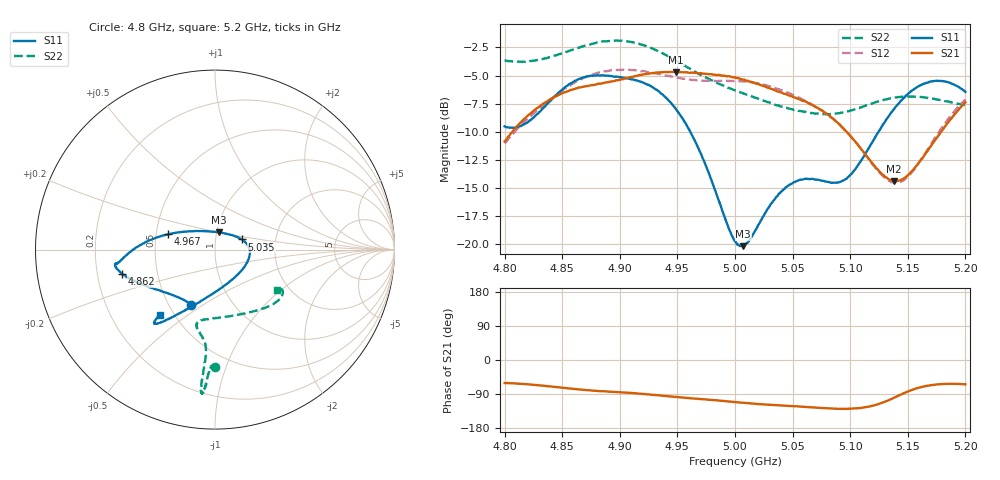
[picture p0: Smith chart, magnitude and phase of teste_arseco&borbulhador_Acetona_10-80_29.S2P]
! Network Analyzer HP8722D
! Hewlett-Packard
! Data name: Linha & Wilkinson
! Saver's name: Rodrigo Anjos
! Comments: Teste da utilização de aquisição
! continua pelo VNA HP8722D
! Time and date: 17/4/2025 14:36
!  Frequency  S11  S21  S12  S22
# HZ  S  MA R 50
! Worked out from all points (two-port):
!   401 points, 4.8 GHz to 5.2 GHz, reference 50 ohm
!   highest |S21| = -4.67 dB at 4.949 GHz (marker M1); lowest = -14.4 dB at 5.138 GHz (marker M2)
!   |S21| within 3 dB of the highest: 4.831 GHz to 5.068 GHz (236.5 MHz wide, 4.78 % of centre); 5.197242 GHz to end of sweep
!   lowest |S11| = -20.2 dB at 5.007 GHz (marker M3), VSWR 1.22, Z = 51 + j9.9 ohm
!   |S11| at or under -10 dB: 4.961 GHz to 5.125 GHz (163.3 MHz wide, 3.24 % of centre)
!   |S22| runs from -8.5 to -1.9 dB; largest |S21 - S12| = 0.87
!   S11 on the Smith chart (normalised r, x): 4.8 GHz: 0.65, -0.45; 4.862 GHz: 0.31, -0.12; 4.967 GHz: 0.58, +0.11; 5.035 GHz: 1.34, +0.16; 5.2 GHz: 0.42, -0.39
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4.8e9  0.3342 -113.1  0.2866 -60.8  0.2807 -175.0  0.6548 -89.9
4.819e9  0.3461 -133.0  0.3681 -63.8  0.3571 -173.4  0.6506 -91.5
4.862e9  0.5352 -165.4  0.4933 -77.0  0.5282 -176.7  0.7416 -93.8
4.867e9  0.5479 -167.5  0.4999 -78.6  0.5433 -177.6  0.7564 -93.9
4.9e9  0.5529 -172.0  0.5382 -85.2  0.5963 175.8  0.8034 -95.3
4.934e9  0.478 -178.0  0.5802 -93.4  0.5723 172.1  0.7179 -95.7
4.949e9  0.397 174.9  0.5839 -97.4  0.551 172.2  0.6542 -95.3
4.967e9  0.2754 162.0  0.5768 -102.0  0.535 173.9  0.5779 -95.1
5e9  0.1033 102.9  0.5522 -111.0  0.5326 176.2  0.4831 -99.2
5.007e9  0.09808 78.5  0.5392 -112.8  0.5291 176.2  0.4681 -100.7
5.013e9  0.1049 59.7  0.5279 -114.3  0.5239 176.0  0.4566 -102.0
5.035e9  0.1598 20.8  0.483 -119.2  0.4949 174.9  0.4164 -103.4
5.05e9  0.187 5.5  0.4527 -121.9  0.4614 174.1  0.398 -99.6
5.067e9  0.1953 -12.8  0.4168 -124.8  0.4176 173.8  0.383 -90.8
5.087e9  0.1877 -44.8  0.3545 -128.5  0.3529 173.7  0.3808 -75.9
5.097e9  0.1959 -65.5  0.3157 -128.9  0.3164 174.5  0.3882 -67.4
5.134e9  0.374 -116.0  0.1939 -105.1  0.1909 -158.1  0.4443 -43.0
5.138e9  0.3987 -118.4  0.1909 -99.7  0.1881 -151.9  0.4475 -41.1
5.151e9  0.4699 -124.1  0.2049 -82.0  0.2023 -131.6  0.4539 -36.3
5.17e9  0.5288 -128.6  0.2729 -66.5  0.2779 -112.6  0.4451 -31.9
5.184e9  0.5264 -130.0  0.3433 -63.0  0.3546 -107.2  0.4318 -30.9
5.2e9  0.4755 -130.3  0.4277 -64.2  0.4399 -106.3  0.4148 -33.2
